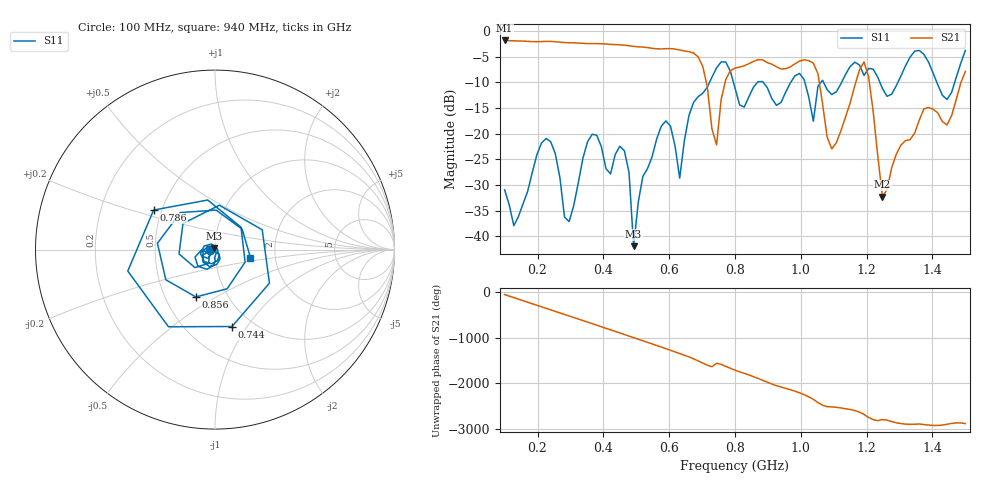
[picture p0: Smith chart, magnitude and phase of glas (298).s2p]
! NanoVNA-App
! Date: 2025-09-25 15:57:47
! Start: 100MHz Stop: 1,5GHz Points: 101
! S-Parameter data: F S11 S21 S12 S22
# Hz S RI R 50
!  Frequency  S11_Real  S11_Imag  S21_Real  S21_Imag  S12_Real  S12_Imag  S22_Real  S22_Imag
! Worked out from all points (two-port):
!   101 points, 100 MHz to 1.5 GHz, reference 50 ohm
!   highest |S21| = -1.80 dB at 100 MHz (marker M1); lowest = -32.3 dB at 1.248 GHz (marker M2)
!   |S21| within 3 dB of the highest: start of sweep to 684.4 MHz
!   lowest |S11| = -41.9 dB at 492 MHz (marker M3), VSWR 1.02, Z = 49.5 + j0.622 ohm
!   |S11| at or under -10 dB: start of sweep to 722.5 MHz; 795.4 MHz to 868.1 MHz (72.75 MHz wide, 8.75 % of centre); 886.1 MHz to 969 MHz (82.89 MHz wide, 8.94 % of centre) (the widest 3 of 7)
!   S12 and S22 are empty: the file has one direction only
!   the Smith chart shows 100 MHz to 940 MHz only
!   S11 on the Smith chart (normalised r, x): 100 MHz: 0.95, -0.01; 744 MHz: 0.81, -0.85; 786 MHz: 0.45, +0.24; 856 MHz: 0.71, -0.41; 940 MHz: 1.48, -0.14
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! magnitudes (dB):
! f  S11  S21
! 100 MHz  -30.9  -1.8
! 128 MHz  -37.9  -1.9
! 226 MHz  -20.9  -2.0
! 296 MHz  -37.1  -2.2
! 338 MHz  -24.7  -2.4
! 464 MHz  -23.3  -2.7
! 492 MHz  -41.9  -3.0
! 576 MHz  -18.5  -3.5
! 632 MHz  -28.7  -3.7
! 702 MHz  -12.1  -6.9
! 744 MHz  -7.2  -22.2
! 786 MHz  -7.8  -7.7
! 800 MHz  -11.1  -7.2
! 856 MHz  -10.9  -5.9
! 940 MHz  -13.9  -7.4
! 996 MHz  -8.2  -5.8
! 1.038 GHz  -17.6  -6.2
! 1.094 GHz  -12.4  -22.9
! 1.192 GHz  -8.6  -6.0
! 1.248 GHz  -11.2  -32.3
! 1.276 GHz  -12.3  -26.6
! 1.5 GHz  -3.7  -7.8
